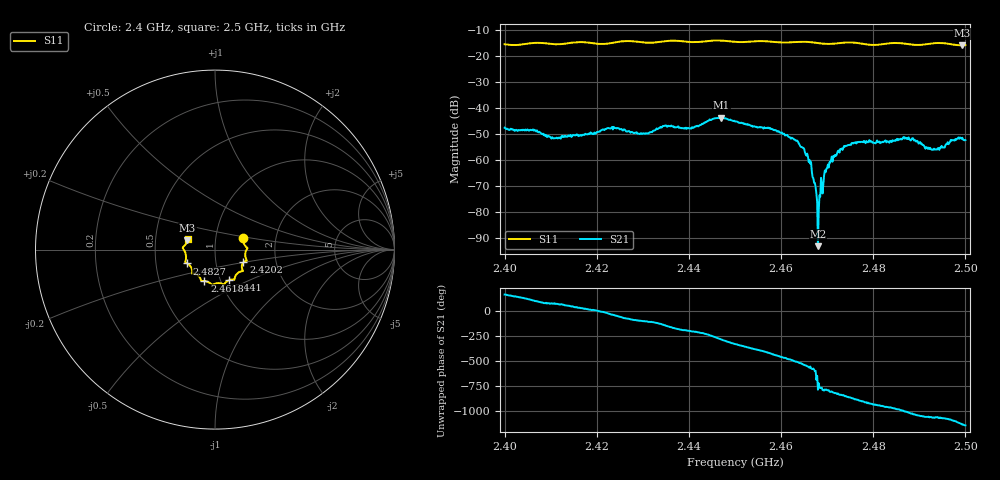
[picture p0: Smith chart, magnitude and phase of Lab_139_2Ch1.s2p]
# Hz S RI R 50
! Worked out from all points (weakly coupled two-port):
!   601 points, 2.4 GHz to 2.5 GHz, reference 50 ohm
!   highest |S21| = -43.67 dB at 2.447 GHz (marker M1); lowest = -93.2 dB at 2.468 GHz (marker M2)
!   lowest |S11| = -15.8 dB at 2.4993 GHz (marker M3), VSWR 1.39, Z = 36.5 + j3.84 ohm
!   |S11| at or under -10 dB: start of sweep to end of sweep
!   S12 and S22 are empty: the file has one direction only
!   S11 on the Smith chart (normalised r, x): 2.4 GHz: 1.36, +0.18; 2.4202 GHz: 1.36, -0.20; 2.441 GHz: 1.10, -0.39; 2.4618 GHz: 0.84, -0.30; 2.4827 GHz: 0.72, -0.11; 2.5 GHz: 0.73, +0.09
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2.4e9  0.1584 0.0628  -0.00411 0.000796  0 0  0 0
2.410667e9  0.1704 -0.013  0.000539 0.00256  0 0  0 0
2.416667e9  0.1771 -0.061  0.00251 0.00153  0 0  0 0
2.420167e9  0.1586 -0.0712  0.00343 0.000399  0 0  0 0
2.430667e9  0.1301 -0.1283  -0.000613 -0.00323  0 0  0 0
2.433333e9  0.1115 -0.1509  -0.00205 -0.00347  0 0  0 0
2.441e9  0.0788 -0.1697  -0.00385 0.00164  0 0  0 0
2.447e9  0.0475 -0.1947  0.00148 0.00638  0 0  0 0
2.45e9  0.0286 -0.1873  0.00475 0.00282  0 0  0 0
2.461833e9  -0.0592 -0.1753  -0.00149 -0.00231  0 0  0 0
2.465167e9  -0.0764 -0.1738  -0.00142 8.18e-05  0 0  0 0
2.466667e9  -0.0786 -0.1683  -0.000467 0.000383  0 0  0 0
2.468e9  -0.0822 -0.1594  7.91e-06 -2.04e-05  0 0  0 0
2.47e9  -0.095 -0.1442  0.000185 -0.000673  0 0  0 0
2.472667e9  -0.118 -0.135  -0.000706 -0.0012  0 0  0 0
2.475833e9  -0.1277 -0.1312  -0.00205 -0.000676  0 0  0 0
2.482667e9  -0.1559 -0.0769  -0.00109 0.00213  0 0  0 0
2.483333e9  -0.1601 -0.0749  -0.000927 0.00205  0 0  0 0
2.487167e9  -0.1628 -0.0586  0.000984 0.00239  0 0  0 0
2.493333e9  -0.1788 0.00634  0.00158 0.000212  0 0  0 0
2.499333e9  -0.154 0.0512  0.00132 -0.00235  0 0  0 0
2.5e9  -0.1523 0.0608  0.000865 -0.00227  0 0  0 0
